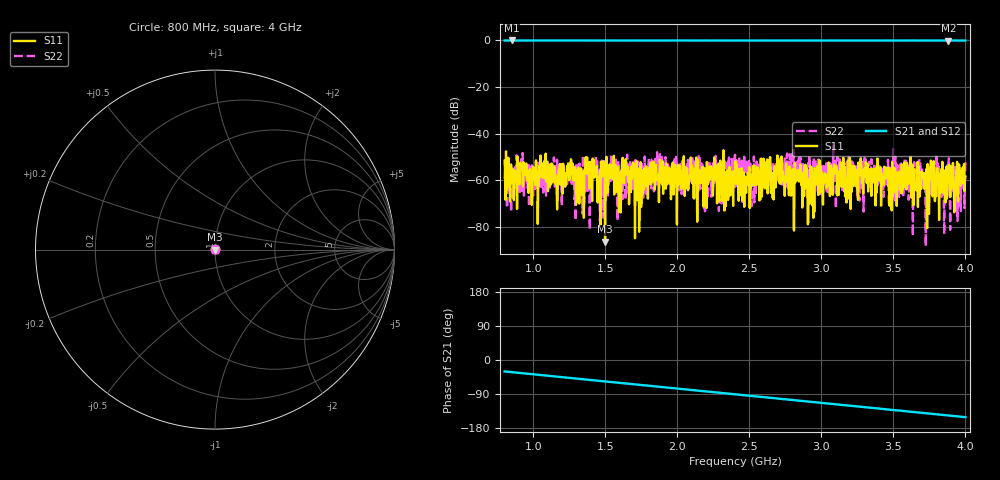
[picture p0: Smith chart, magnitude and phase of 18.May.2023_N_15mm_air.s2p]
!Keysight Technologies N9950B: A.12.38
!Date: Thursday, 18 May 2023 16:38:39
!Timezone: (UTC-06:00) Central Time (US & Canada)
!Model: N9950B
!Serial: MY61131330
!GPS Latitude:
!GPS Longitude:
!GPS TimeStamp: 0001-01-01 00:00:00Z
!GPS Seconds Since Last Read: 0
!CHECKSUM:1207914676
!Correction: S11(ON U)S21(ON U)S12(ON U)S22(ON U)
!S2P File: Measurements:S11,S21,S12,S22:
# Hz S DB R 50
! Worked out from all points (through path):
!   1001 points, 800 MHz to 4 GHz, reference 50 ohm
!   highest |S21| = 0.02 dB at 848 MHz (marker M1); lowest = 0.0 dB at 3.882 GHz (marker M2)
!   group delay of S21, straight-line fit = 105 ps
!   lowest |S11| = -86.3 dB at 1.498 GHz (marker M3), VSWR 1.00, Z = 50 + j0.00344 ohm
!   |S11| at or under -10 dB: start of sweep to end of sweep
!   |S22| runs from -88.2 to -45.0 dB; largest |S21 - S12| = 0.0058
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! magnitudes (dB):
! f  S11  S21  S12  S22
! 800 MHz  -51.5  0.0  0.0  -59.4
! 848 MHz  -55.1  0.0  0.0  -62.6
! 1.274 GHz  -53.0  0.0  0.0  -54.5
! 1.334 GHz  -66.1  0.0  0.0  -66.6
! 1.37 GHz  -57.2  0.0  0.0  -60.1
! 1.424 GHz  -58.8  0.0  0.0  -56.1
! 1.498 GHz  -86.3  0.0  0.0  -53.8
! 1.632 GHz  -51.9  0.0  0.0  -62.5
! 1.75 GHz  -70.0  0.0  0.0  -52.9
! 1.869 GHz  -57.4  0.0  0.0  -58.7
! 2.16 GHz  -58.0  0.0  0.0  -63.7
! 2.202 GHz  -71.9  0.0  0.0  -55.0
! 2.4 GHz  -58.8  0.0  0.0  -49.0
! 2.707 GHz  -54.9  0.0  0.0  -54.7
! 2.934 GHz  -67.9  0.0  0.0  -59.6
! 3.098 GHz  -54.8  0.0  0.0  -50.4
! 3.174 GHz  -69.5  0.0  0.0  -52.3
! 3.309 GHz  -52.1  0.0  0.0  -54.3
! 3.469 GHz  -54.5  0.0  0.0  -70.1
! 3.882 GHz  -59.7  0.0  0.0  -54.2
! 3.952 GHz  -53.9  0.0  0.0  -72.1
! 4 GHz  -58.4  0.0  0.0  -51.4
